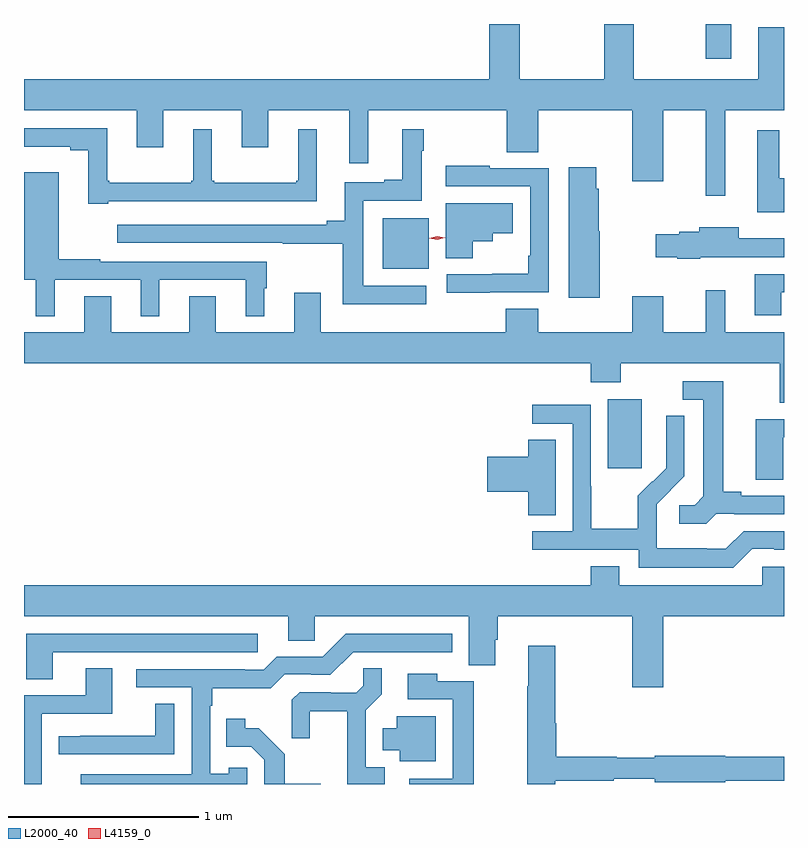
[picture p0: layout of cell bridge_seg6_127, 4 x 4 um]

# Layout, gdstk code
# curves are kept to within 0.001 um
import gdstk
lib = gdstk.Library(unit=1e-6, precision=1e-09)
def R(c, l, rs):  # rectangles x0, y0, x1, y1
    for r in rs: c.add(gdstk.rectangle(r[:2], r[2:], *l))
def P(c, l, *ps):  # polygons
    for p in ps: c.add(gdstk.Polygon(p, *l))
L2000_40 = (2000, 40)
L4159_0 = (4159, 0)

bridge_seg6_127 = lib.new_cell('bridge_seg6_127')
R(bridge_seg6_127, L2000_40, [(440.603,957.441,440.782,957.802), (439.418,958.49,439.66,958.756), (441.118,959.595,441.253,959.778)])
P(bridge_seg6_127, L2000_40, [(441.223,959.324),(441.531,959.324),(441.531,959.761),(441.395,959.761),(441.395,959.488),(440.739,959.488),(440.739,959.778),(440.584,959.778),(440.584,959.488),(440.139,959.488),(440.139,959.778),(439.979,959.778),(439.979,959.488),(437.531,959.488),(437.531,959.324),(438.125,959.324),(438.125,959.13),(438.265,959.13),(438.265,959.324),(438.677,959.324),(438.677,959.13),(438.817,959.13),(438.817,959.324),(439.244,959.324),(439.244,959.046),(439.343,959.046),(439.343,959.324),(440.071,959.324),(440.071,959.104),(440.237,959.104),(440.237,959.324),(440.732,959.324),(440.732,958.95),(440.896,958.95),(440.896,959.324),(441.119,959.324),(441.119,958.875),(441.223,958.875)],
  [(437.974,958.845),(439.072,958.845),(439.072,959.224),(438.974,959.224),(438.974,958.954),(438.963,958.954),(438.963,958.943),(438.532,958.943),(438.532,958.954),(438.52,958.954),(438.52,959.224),(438.422,959.224),(438.422,958.954),(438.411,958.954),(438.411,958.943),(437.98,958.943),(437.98,958.954),(437.968,958.954),(437.968,959.229),(437.531,959.229),(437.531,959.132),(437.774,959.132),(437.774,959.113),(437.87,959.113),(437.87,958.833),(437.974,958.833)],
  [(439.648,958.401),(439.317,958.401),(439.317,958.848),(439.624,958.848),(439.624,959.111),(439.634,959.111),(439.634,959.224),(439.523,959.224),(439.523,958.957),(439.427,958.957),(439.427,958.944),(439.22,958.944),(439.22,958.742),(439.124,958.742),(439.124,958.722),(438.021,958.722),(438.021,958.626),(438.892,958.626),(438.892,958.621),(439.209,958.621),(439.209,958.304),(439.648,958.304)],
  [(441.531,958.966),(441.505,958.966),(441.505,959.218),(441.389,959.218),(441.389,958.787),(441.531,958.787)],
  [(439.982,958.365),(440.292,958.365),(440.292,959.019),(439.982,959.019),(439.982,959.032),(439.752,959.032),(439.752,958.923),(440.196,958.923),(440.196,958.558),(440.184,958.558),(440.184,958.463),(439.995,958.463),(439.995,958.461),(439.755,958.461),(439.755,958.364),(439.982,958.364)],
  [(440.56,958.686),(440.555,958.686),(440.555,958.91),(440.542,958.91),(440.542,959.023),(440.399,959.023),(440.399,958.338),(440.56,958.338)],
  [(437.692,958.431),(438.146,958.431),(438.146,958.241),(438.244,958.241),(438.244,958.431),(438.698,958.431),(438.698,958.241),(438.796,958.241),(438.796,958.388),(438.808,958.388),(438.808,958.527),(437.933,958.527),(437.933,958.54),(437.713,958.54),(437.713,958.999),(437.531,958.999),(437.531,958.431),(437.594,958.431),(437.594,958.241),(437.692,958.241)],
  [(439.893,958.634),(439.999,958.634),(439.999,958.676),(440.104,958.676),(440.104,958.834),(439.751,958.834),(439.751,958.546),(439.893,958.546)],
  [(441.09,958.55),(441.531,958.55),(441.531,958.651),(441.292,958.651),(441.292,958.708),(441.086,958.708),(441.086,958.685),(440.979,958.685),(440.979,958.672),(440.856,958.672),(440.856,958.55),(440.968,958.55),(440.968,958.543),(441.09,958.543)],
  [(441.517,958.365),(441.531,958.365),(441.531,958.461),(441.377,958.461),(441.377,958.245),(441.517,958.245)],
  [(441.531,958.156),(441.223,958.156),(441.223,958.378),(441.119,958.378),(441.119,958.156),(440.896,958.156),(440.896,958.345),(440.732,958.345),(440.732,958.156),(440.237,958.156),(440.237,958.28),(440.066,958.28),(440.066,958.156),(439.093,958.156),(439.093,958.363),(438.953,958.363),(438.953,958.156),(438.541,958.156),(438.541,958.346),(438.401,958.346),(438.401,958.156),(437.989,958.156),(437.989,958.346),(437.849,958.346),(437.849,958.156),(437.531,958.156),(437.531,957.992),(440.513,957.992),(440.513,957.893),(440.673,957.893),(440.673,957.992),(441.509,957.992),(441.509,957.784),(441.531,957.784)],
  [(441.174,957.201),(441.268,957.201),(441.268,957.198),(441.531,957.198),(441.531,957.294),(441.307,957.294),(441.307,957.317),(441.211,957.317),(441.211,957.897),(440.997,957.897),(440.997,957.801),(441.107,957.801),(441.107,957.293),(441.06,957.246),(440.979,957.246),(440.979,957.149),(441.122,957.149)],
  [(441.363,957.015),(441.479,957.015),(441.479,957.012),(441.531,957.012),(441.531,957.108),(441.318,957.108),(441.225,957.015),(441.125,957.015),(441.125,957.019),(440.862,957.019),(440.862,957.153),(440.86,957.153),(440.86,957.25),(441.006,957.398),(441.006,957.716),(440.91,957.716),(440.91,957.562),(440.912,957.562),(440.912,957.44),(440.841,957.369),(440.838,957.372),(440.761,957.295),(440.761,957.121),(440.517,957.121),(440.517,957.344),(440.514,957.344),(440.514,957.774),(440.205,957.774),(440.205,957.675),(440.418,957.675),(440.418,957.108),(440.205,957.108),(440.205,957.012),(440.766,957.012),(440.766,956.915),(441.263,956.915)],
  [(441.528,957.603),(441.531,957.603),(441.531,957.699),(441.383,957.699),(441.383,957.379),(441.528,957.379)],
  [(440.329,957.59),(440.186,957.59),(440.186,957.5),(439.968,957.5),(439.968,957.317),(440.186,957.317),(440.186,957.193),(440.329,957.193)],
  [(440.896,956.66),(441.531,956.66),(441.531,956.922),(441.417,956.922),(441.417,956.824),(440.665,956.824),(440.665,956.923),(440.513,956.923),(440.513,956.824),(437.531,956.824),(437.531,956.66),(438.923,956.66),(438.923,956.533),(439.062,956.533),(439.062,956.66),(439.871,956.66),(439.871,956.404),(440.011,956.404),(440.011,956.538),(440.024,956.538),(440.024,956.66),(440.732,956.66),(440.732,956.286),(440.896,956.286)],
  [(438.705,955.863),(438.609,955.863),(438.609,955.831),(438.51,955.831),(438.51,956.189),(438.523,956.189),(438.523,956.282),(438.83,956.282),(438.903,956.355),(439.042,956.355),(439.042,956.352),(439.143,956.352),(439.263,956.472),(439.786,956.472),(439.786,956.568),(439.224,956.568),(439.104,956.448),(438.861,956.448),(438.792,956.379),(438.692,956.379),(438.692,956.382),(438.123,956.382),(438.123,956.286),(438.414,956.286),(438.414,955.83),(437.829,955.83),(437.829,955.778),(438.705,955.778)],
  [(437.683,956.472),(438.76,956.472),(438.76,956.568),(437.543,956.568),(437.543,956.329),(437.683,956.329)],
  [(440.328,955.794),(440.636,955.794),(440.636,955.806),(440.85,955.806),(440.85,955.786),(441.222,955.786),(441.222,955.794),(441.531,955.794),(441.531,955.922),(441.222,955.922),(441.222,955.928),(440.85,955.928),(440.85,955.915),(440.65,955.915),(440.65,955.922),(440.333,955.922),(440.333,956.099),(440.328,956.099),(440.328,956.506),(440.186,956.506),(440.186,956.293),(440.179,956.293),(440.179,955.778),(440.328,955.778)],
  [(437.625,956.148),(437.995,956.148),(437.995,956.387),(437.855,956.387),(437.855,956.244),(437.531,956.244),(437.531,955.778),(437.625,955.778)],
  [(439.429,955.866),(439.329,955.866),(439.329,956.165),(439.415,956.251),(439.415,956.387),(439.317,956.387),(439.317,956.296),(439.28,956.259),(439.146,956.259),(439.146,956.262),(438.981,956.262),(438.94,956.221),(438.94,956.019),(439.034,956.019),(439.034,956.162),(439.232,956.162),(439.232,955.778),(439.429,955.778)],
  [(439.897,956.319),(439.707,956.319),(439.707,956.359),(439.551,956.359),(439.551,956.223),(439.788,956.223),(439.788,955.806),(439.559,955.806),(439.559,955.778),(439.897,955.778)],
  [(438.321,956.201),(438.223,956.201),(438.223,956.031),(437.827,956.031),(437.827,956.03),(437.715,956.03),(437.715,955.935),(438.321,955.935)],
  [(439.699,956.134),(439.493,956.134),(439.493,956.071),(439.418,956.071),(439.418,955.955),(439.508,955.955),(439.508,955.898),(439.699,955.898)],
  [(439.093,955.779),(438.904,955.779),(438.904,955.934),(438.766,956.072),(438.696,956.072),(438.696,956.122),(438.595,956.122),(438.595,955.974),(438.726,955.974),(438.795,955.905),(438.795,955.778),(439.094,955.778)])
P(bridge_seg6_127, L4159_0, [(439.706,958.642),(439.665,958.651),(439.664,958.651),(439.665,958.651),(439.705,958.662),(439.746,958.653),(439.747,958.653),(439.746,958.653)])

lib.write_gds('bridge_seg6_127.gds')
